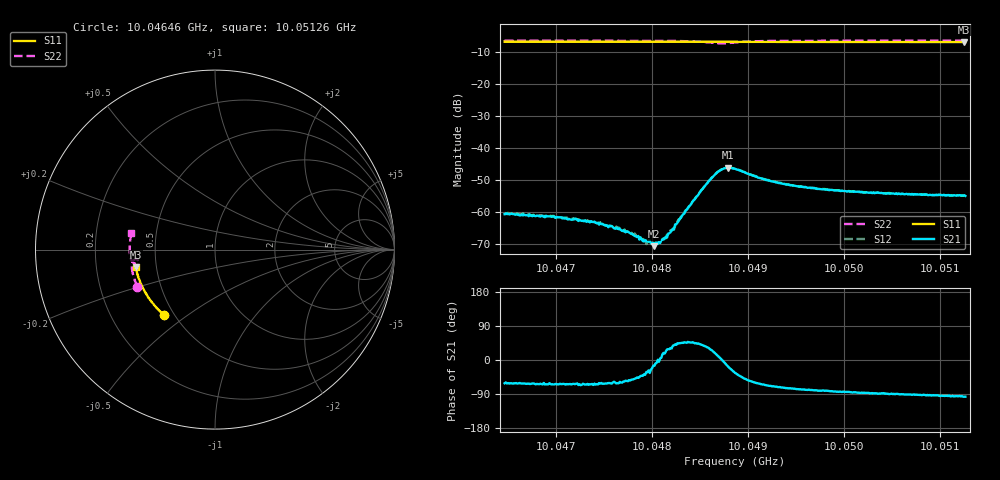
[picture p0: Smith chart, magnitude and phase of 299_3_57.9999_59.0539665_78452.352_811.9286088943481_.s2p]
#  HZ  S  RI  R  50.00
! Rohde & Schwarz Vector Network Analyzer
! Rohde-Schwarz,ZNB20-2Port,1311601062101988,3.16
! Created: UTC 3/21/2024, 1:03:43 AM
! freq[Hz]  re:S11  im:S11  re:S21  im:S21  re:S12  im:S12  re:S22  im:S22
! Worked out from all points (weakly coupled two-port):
!   401 points, 10.04646 GHz to 10.05126 GHz, reference 50 ohm
!   highest |S21| = -46.13 dB at 10.04879 GHz (marker M1); lowest = -70.7 dB at 10.04802 GHz (marker M2)
!   lowest |S11| = -6.9 dB at 10.05125 GHz (marker M3), VSWR 2.65, Z = 19 - j4.68 ohm
!   |S11| at or under -10 dB: nowhere
!   |S22| runs from -7.3 to -6.4 dB; largest |S21 - S12| = 0.00034
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1.0046461e10  -0.2839 -0.3634  0.000444 -0.000813  0.000535 -0.000805  -0.4326 -0.2075
1.0046953e10  -0.3081 -0.3417  0.00037 -0.000761  0.000431 -0.000731  -0.445 -0.1766
1.0047265e10  -0.3226 -0.3271  0.000304 -0.000661  0.000371 -0.000657  -0.4518 -0.1562
1.0047386e10  -0.328 -0.3214  0.000285 -0.000636  0.000364 -0.000589  -0.4543 -0.1484
1.004765e10  -0.3396 -0.3083  0.00026 -0.000473  0.000309 -0.000481  -0.4588 -0.1302
1.004783e10  -0.3471 -0.299  0.000278 -0.00031  0.000314 -0.000294  -0.4614 -0.1173
1.004789e10  -0.3497 -0.2959  0.000281 -0.000249  0.0003 -0.000217  -0.4621 -0.1131
1.0047962e10  -0.3526 -0.2922  0.000309 -0.00016  0.000317 -0.000164  -0.4628 -0.1073
1.0048022e10  -0.355 -0.289  0.000283 -7.63e-05  0.000319 -5.5e-05  -0.4634 -0.1027
1.004807e10  -0.3568 -0.2865  0.00034 -2.78e-05  0.000337 5.02e-05  -0.4637 -0.0988
1.0048118e10  -0.3589 -0.2841  0.000351 0.00012  0.000367 0.000133  -0.4638 -0.0949
1.0048202e10  -0.3622 -0.2796  0.000445 0.000261  0.000409 0.000309  -0.4637 -0.0879
1.0048406e10  -0.37 -0.2685  0.000927 0.000968  0.000897 0.00104  -0.46 -0.0688
1.0048634e10  -0.3779 -0.2557  0.00332 0.00139  0.00327 0.0016  -0.4381 -0.0537
1.0048707e10  -0.3804 -0.2519  0.00445 0.000417  0.00444 0.000701  -0.4294 -0.06
1.0048791e10  -0.3832 -0.2475  0.00471 -0.00146  0.00486 -0.00115  -0.4301 -0.0728
1.0048863e10  -0.3856 -0.2435  0.00394 -0.00263  0.00415 -0.00237  -0.4395 -0.0784
1.0049247e10  -0.3982 -0.2214  0.00106 -0.00283  0.00123 -0.00278  -0.4691 -0.0513
1.0049667e10  -0.4104 -0.1965  0.00045 -0.00234  0.000589 -0.00233  -0.4748 -0.0181
1.0050472e10  -0.4293 -0.1472  1.39e-06 -0.00194  0.000111 -0.00198  -0.4741 0.0384
1.0051253e10  -0.4419 -0.0977  -0.000215 -0.00182  -0.000107 -0.00181  -0.4667 0.0902
1.0051265e10  -0.4421 -0.0968  -0.000213 -0.00178  -7.29e-05 -0.0018  -0.4664 0.091
